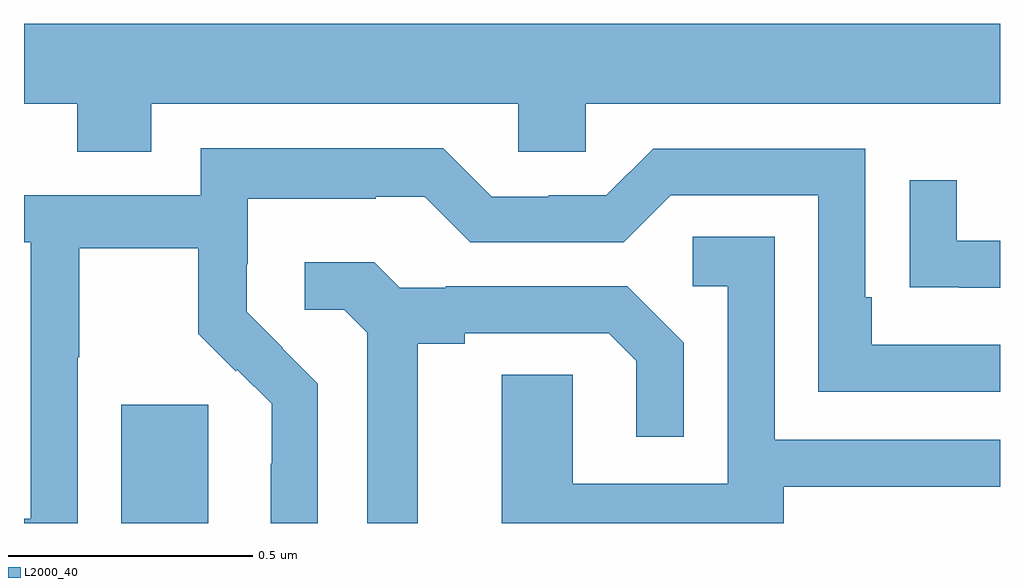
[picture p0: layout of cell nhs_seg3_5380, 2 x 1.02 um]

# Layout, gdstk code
import gdstk
lib = gdstk.Library(unit=1e-6, precision=1e-09)
def R(c, l, rs):  # rectangles x0, y0, x1, y1
    for r in rs: c.add(gdstk.rectangle(r[:2], r[2:], *l))
def P(c, l, *ps):  # polygons
    for p in ps: c.add(gdstk.Polygon(p, *l))
L2000_40 = (2000, 40)

nhs_seg3_5380 = lib.new_cell('nhs_seg3_5380')
R(nhs_seg3_5380, L2000_40, [(178.199,689.4,178.378,689.643)])
P(nhs_seg3_5380, L2000_40, [(178.261,690.26),(179.013,690.26),(179.013,690.162),(179.151,690.162),(179.151,690.26),(180,690.26),(180,690.424),(178,690.424),(178,690.26),(178.109,690.26),(178.109,690.161),(178.261,690.161)],
  [(178.11,689.74),(178.113,689.74),(178.113,689.964),(178.357,689.964),(178.357,689.789),(178.434,689.712),(178.437,689.715),(178.508,689.645),(178.508,689.522),(178.506,689.522),(178.506,689.4),(178.602,689.4),(178.602,689.686),(178.529,689.759),(178.53,689.76),(178.456,689.834),(178.456,689.931),(178.458,689.931),(178.458,690.065),(178.721,690.065),(178.721,690.069),(178.821,690.069),(178.914,689.976),(179.229,689.976),(179.325,690.072),(179.628,690.072),(179.628,689.67),(180,689.67),(180,689.766),(179.737,689.766),(179.737,689.863),(179.724,689.863),(179.724,690.168),(179.289,690.168),(179.193,690.072),(179.075,690.072),(179.075,690.069),(178.959,690.069),(178.859,690.169),(178.362,690.169),(178.362,690.072),(178,690.072),(178,689.976),(178.014,689.976),(178.014,689.409),(178,689.409),(178,689.4),(178.11,689.4)],
  [(180,689.979),(179.911,689.979),(179.911,690.103),(179.815,690.103),(179.815,689.884),(179.917,689.884),(179.917,689.883),(180,689.883)],
  [(179.557,689.475),(180,689.475),(180,689.571),(179.538,689.571),(179.538,689.987),(179.37,689.987),(179.37,689.886),(179.442,689.886),(179.442,689.481),(179.124,689.481),(179.124,689.705),(178.979,689.705),(178.979,689.4),(179.557,689.4)],
  [(178.807,689.768),(178.903,689.768),(178.903,689.79),(179.198,689.79),(179.255,689.733),(179.255,689.577),(179.352,689.577),(179.352,689.77),(179.236,689.886),(178.864,689.886),(178.864,689.883),(178.77,689.883),(178.718,689.935),(178.575,689.935),(178.575,689.838),(178.656,689.838),(178.703,689.791),(178.703,689.4),(178.807,689.4)])

lib.write_gds('nhs_seg3_5380.gds')
